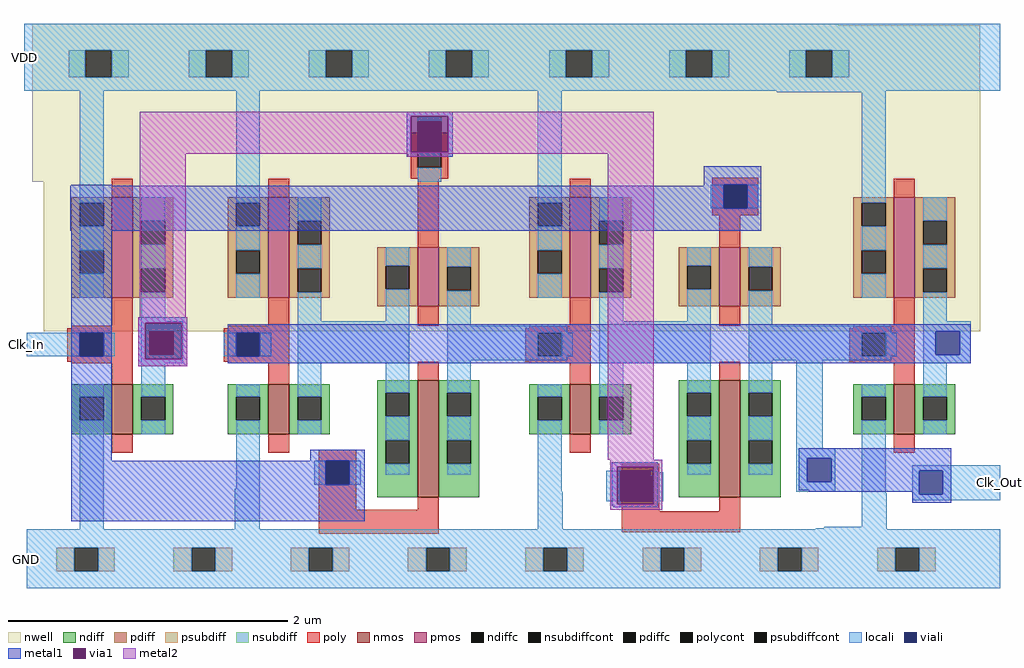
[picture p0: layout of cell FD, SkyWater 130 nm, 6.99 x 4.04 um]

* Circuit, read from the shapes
.subckt FD Clk_In GND Clk_Out VDD
XM1 n1 Clk_In VSUBS VSUBS sky130_fd_pr__nfet_01v8 w=0.36 l=0.15
XM2 n2 n3 VSUBS VSUBS sky130_fd_pr__nfet_01v8 w=0.36 l=0.15
XM3 n4 Clk_In n2 VSUBS sky130_fd_pr__nfet_01v8 w=0.84 l=0.15
XM4 n5 n4 VSUBS VSUBS sky130_fd_pr__nfet_01v8 w=0.36 l=0.15
XM5 Clk_Out n1 n5 VSUBS sky130_fd_pr__nfet_01v8 w=0.84 l=0.15
XM6 n3 Clk_Out VSUBS VSUBS sky130_fd_pr__nfet_01v8 w=0.36 l=0.15
XM7 n1 Clk_In VDD VDD sky130_fd_pr__pfet_01v8 w=0.72 l=0.15
XM8 n2 n3 VDD VDD sky130_fd_pr__pfet_01v8 w=0.72 l=0.15
XM9 n4 n1 n2 VDD sky130_fd_pr__pfet_01v8 w=0.42 l=0.15
XM10 n5 n4 VDD VDD sky130_fd_pr__pfet_01v8 w=0.72 l=0.15
XM11 Clk_Out Clk_In n5 VDD sky130_fd_pr__pfet_01v8 w=0.42 l=0.15
XM12 n3 Clk_Out VDD VDD sky130_fd_pr__pfet_01v8 w=0.72 l=0.15
.ends

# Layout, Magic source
magic
tech sky130A
<< nwell >>
rect -140 283 437 284
rect -140 171 539 283
rect -132 64 539 171
<< nmos >>
rect -83 -10 -68 26
rect 29 -10 44 26
rect 136 -55 151 29
rect 245 -10 260 26
rect 352 -55 367 29
rect 477 -10 492 26
<< pmos >>
rect -83 88 -68 160
rect 29 88 44 160
rect 136 82 151 124
rect 245 88 260 160
rect 352 82 367 124
rect 477 88 492 160
<< ndiff >>
rect -112 17 -83 26
rect -112 0 -106 17
rect -89 0 -83 17
rect -112 -10 -83 0
rect -68 17 -39 26
rect -68 0 -62 17
rect -45 0 -39 17
rect -68 -10 -39 0
rect 0 17 29 26
rect 0 0 6 17
rect 23 0 29 17
rect 0 -10 29 0
rect 44 17 73 26
rect 44 0 50 17
rect 67 0 73 17
rect 44 -10 73 0
rect 107 20 136 29
rect 107 3 113 20
rect 130 3 136 20
rect 107 -14 136 3
rect 107 -31 113 -14
rect 130 -31 136 -14
rect 107 -55 136 -31
rect 151 20 180 29
rect 151 3 157 20
rect 174 3 180 20
rect 151 -14 180 3
rect 216 17 245 26
rect 216 0 222 17
rect 239 0 245 17
rect 216 -10 245 0
rect 260 17 289 26
rect 260 0 266 17
rect 283 0 289 17
rect 260 -10 289 0
rect 323 20 352 29
rect 323 3 329 20
rect 346 3 352 20
rect 151 -31 157 -14
rect 174 -31 180 -14
rect 323 -14 352 3
rect 323 -31 329 -14
rect 346 -31 352 -14
rect 151 -55 180 -31
rect 323 -55 352 -31
rect 367 20 396 29
rect 367 3 373 20
rect 390 3 396 20
rect 367 -14 396 3
rect 448 17 477 26
rect 448 0 454 17
rect 471 0 477 17
rect 448 -10 477 0
rect 492 17 521 26
rect 492 0 498 17
rect 515 0 521 17
rect 492 -10 521 0
rect 367 -31 373 -14
rect 390 -31 396 -14
rect 367 -55 396 -31
<< pdiff >>
rect -112 156 -83 160
rect -112 139 -106 156
rect -89 139 -83 156
rect -112 122 -83 139
rect -112 105 -106 122
rect -89 105 -83 122
rect -112 88 -83 105
rect -68 143 -39 160
rect -68 126 -62 143
rect -45 126 -39 143
rect -68 109 -39 126
rect -68 92 -62 109
rect -45 92 -39 109
rect -68 88 -39 92
rect 0 156 29 160
rect 0 139 6 156
rect 23 139 29 156
rect 0 122 29 139
rect 0 105 6 122
rect 23 105 29 122
rect 0 88 29 105
rect 44 143 73 160
rect 44 126 50 143
rect 67 126 73 143
rect 44 109 73 126
rect 216 156 245 160
rect 216 139 222 156
rect 239 139 245 156
rect 44 92 50 109
rect 67 92 73 109
rect 44 88 73 92
rect 107 111 136 124
rect 107 94 113 111
rect 130 94 136 111
rect 107 82 136 94
rect 151 110 180 124
rect 151 93 157 110
rect 174 93 180 110
rect 151 82 180 93
rect 216 122 245 139
rect 216 105 222 122
rect 239 105 245 122
rect 216 88 245 105
rect 260 143 289 160
rect 448 156 477 160
rect 260 126 266 143
rect 283 126 289 143
rect 260 109 289 126
rect 448 139 454 156
rect 471 139 477 156
rect 260 92 266 109
rect 283 92 289 109
rect 260 88 289 92
rect 323 111 352 124
rect 323 94 329 111
rect 346 94 352 111
rect 323 82 352 94
rect 367 110 396 124
rect 367 93 373 110
rect 390 93 396 110
rect 367 82 396 93
rect 448 122 477 139
rect 448 105 454 122
rect 471 105 477 122
rect 448 88 477 105
rect 492 143 521 160
rect 492 126 498 143
rect 515 126 521 143
rect 492 109 521 126
rect 492 92 498 109
rect 515 92 521 109
rect 492 88 521 92
<< ndiffc >>
rect -106 0 -89 17
rect -62 0 -45 17
rect 6 0 23 17
rect 50 0 67 17
rect 113 3 130 20
rect 113 -31 130 -14
rect 157 3 174 20
rect 222 0 239 17
rect 266 0 283 17
rect 329 3 346 20
rect 157 -31 174 -14
rect 329 -31 346 -14
rect 373 3 390 20
rect 454 0 471 17
rect 498 0 515 17
rect 373 -31 390 -14
<< pdiffc >>
rect -106 139 -89 156
rect -106 105 -89 122
rect -62 126 -45 143
rect -62 92 -45 109
rect 6 139 23 156
rect 6 105 23 122
rect 50 126 67 143
rect 222 139 239 156
rect 50 92 67 109
rect 113 94 130 111
rect 157 93 174 110
rect 222 105 239 122
rect 266 126 283 143
rect 454 139 471 156
rect 266 92 283 109
rect 329 94 346 111
rect 373 93 390 110
rect 454 105 471 122
rect 498 126 515 143
rect 498 92 515 109
<< psubdiff >>
rect -123 -108 -110 -91
rect -93 -108 -81 -91
rect -39 -108 -26 -91
rect -9 -108 3 -91
rect 45 -108 58 -91
rect 75 -108 87 -91
rect 129 -108 142 -91
rect 159 -108 171 -91
rect 213 -108 226 -91
rect 243 -108 255 -91
rect 297 -108 310 -91
rect 327 -108 339 -91
rect 381 -108 394 -91
rect 411 -108 423 -91
rect 465 -108 478 -91
rect 495 -108 507 -91
<< nsubdiff >>
rect -114 246 -102 265
rect -83 246 -71 265
rect -28 246 -16 265
rect 3 246 15 265
rect 58 246 70 265
rect 89 246 101 265
rect 144 246 156 265
rect 175 246 187 265
rect 230 246 242 265
rect 261 246 273 265
rect 316 246 328 265
rect 347 246 359 265
rect 402 246 414 265
rect 433 246 445 265
<< psubdiffcont >>
rect -110 -108 -93 -91
rect -26 -108 -9 -91
rect 58 -108 75 -91
rect 142 -108 159 -91
rect 226 -108 243 -91
rect 310 -108 327 -91
rect 394 -108 411 -91
rect 478 -108 495 -91
<< nsubdiffcont >>
rect -102 246 -83 265
rect -16 246 3 265
rect 70 246 89 265
rect 156 246 175 265
rect 242 246 261 265
rect 328 246 347 265
rect 414 246 433 265
<< poly >>
rect 131 198 158 206
rect 131 181 136 198
rect 153 181 158 198
rect 131 173 158 181
rect -83 160 -68 173
rect 29 160 44 173
rect 136 124 151 173
rect 245 160 260 173
rect 347 169 380 174
rect -83 68 -68 88
rect 29 68 44 88
rect 347 152 355 169
rect 372 152 380 169
rect 477 160 492 173
rect 347 147 380 152
rect 352 124 367 147
rect 136 68 151 82
rect 245 68 260 88
rect 352 68 367 82
rect 477 68 492 88
rect -112 66 -68 68
rect 0 66 44 68
rect 216 66 260 68
rect 448 66 492 68
rect -115 63 -68 66
rect -115 46 -106 63
rect -89 46 -68 63
rect -115 42 -68 46
rect -3 63 44 66
rect -3 46 6 63
rect 23 46 44 63
rect -3 42 44 46
rect 213 63 260 66
rect 213 46 222 63
rect 239 46 260 63
rect 213 42 260 46
rect 445 63 492 66
rect 445 46 454 63
rect 471 46 492 63
rect 445 42 492 46
rect -112 41 -68 42
rect 0 41 44 42
rect -83 26 -68 41
rect 29 26 44 41
rect 136 29 151 42
rect 216 41 260 42
rect -83 -23 -68 -10
rect 29 -23 44 -10
rect 65 -29 92 -21
rect 65 -46 70 -29
rect 87 -46 92 -29
rect 65 -64 92 -46
rect 245 26 260 41
rect 352 29 367 42
rect 448 41 492 42
rect 245 -23 260 -10
rect 282 -40 309 -31
rect 136 -64 151 -55
rect 65 -81 151 -64
rect 282 -57 287 -40
rect 304 -57 309 -40
rect 477 26 492 41
rect 477 -23 492 -10
rect 282 -65 309 -57
rect 352 -65 367 -55
rect 282 -80 367 -65
<< polycont >>
rect 136 181 153 198
rect 355 152 372 169
rect -106 46 -89 63
rect 6 46 23 63
rect 222 46 239 63
rect 454 46 471 63
rect 70 -46 87 -29
rect 287 -57 304 -40
<< locali >>
rect -146 265 553 284
rect -146 246 -102 265
rect -83 246 -16 265
rect 3 246 70 265
rect 89 246 156 265
rect 175 246 242 265
rect 261 246 328 265
rect 347 246 414 265
rect 433 246 553 265
rect -146 236 553 246
rect -106 156 -89 236
rect -106 122 -89 139
rect -106 88 -89 105
rect -62 143 -45 160
rect -62 109 -45 126
rect -62 71 -45 92
rect 6 156 23 236
rect 136 214 153 218
rect 136 171 153 181
rect 6 122 23 139
rect 6 88 23 105
rect 50 143 67 160
rect 50 109 67 126
rect 222 156 239 236
rect 393 235 471 236
rect 50 71 67 92
rect 113 111 130 124
rect 113 71 130 94
rect -62 64 -32 71
rect -144 46 -106 63
rect -89 46 -81 63
rect -62 47 -56 64
rect -39 47 -32 64
rect -62 41 -32 47
rect -3 46 6 63
rect 23 46 31 63
rect 50 41 130 71
rect -106 17 -89 26
rect -106 -78 -89 0
rect -62 17 -45 41
rect -62 -10 -45 0
rect 6 17 23 26
rect 6 -49 23 0
rect 50 17 67 41
rect 50 -10 67 0
rect 113 20 130 41
rect 113 -14 130 3
rect 62 -46 70 -29
rect 87 -46 95 -29
rect 113 -39 130 -31
rect 157 110 174 124
rect 157 68 174 93
rect 222 122 239 139
rect 222 88 239 105
rect 266 143 283 160
rect 346 152 355 169
rect 372 152 380 169
rect 454 156 471 235
rect 266 109 283 126
rect 266 71 283 92
rect 329 111 346 124
rect 329 71 346 94
rect 157 63 243 68
rect 157 46 222 63
rect 239 46 247 63
rect 157 43 243 46
rect 157 20 174 43
rect 266 41 346 71
rect 157 -14 174 3
rect 157 -39 174 -31
rect 222 17 239 26
rect 5 -78 23 -49
rect 222 -51 239 0
rect 266 17 283 41
rect 266 -10 283 0
rect 329 20 346 41
rect 329 -14 346 3
rect 222 -78 240 -51
rect 271 -57 281 -36
rect 302 -37 307 -36
rect 302 -40 312 -37
rect 329 -39 346 -31
rect 373 110 390 124
rect 373 68 390 93
rect 454 122 471 139
rect 454 88 471 105
rect 498 143 515 160
rect 498 109 515 126
rect 498 71 515 92
rect 373 63 475 68
rect 498 64 532 71
rect 373 46 454 63
rect 471 46 479 63
rect 498 47 507 64
rect 524 47 532 64
rect 373 43 475 46
rect 373 20 390 43
rect 373 -14 390 3
rect 373 -39 390 -31
rect 407 -20 426 43
rect 498 41 532 47
rect 454 17 471 26
rect 407 -27 435 -20
rect 304 -57 312 -40
rect 407 -44 415 -27
rect 432 -44 435 -27
rect 407 -51 435 -44
rect 271 -58 312 -57
rect 454 -52 471 0
rect 498 17 515 41
rect 498 -10 515 0
rect 490 -36 553 -32
rect 454 -76 472 -52
rect 490 -53 495 -36
rect 512 -53 553 -36
rect 490 -57 553 -53
rect 427 -77 472 -76
rect 421 -78 472 -77
rect -144 -91 553 -78
rect -144 -108 -110 -91
rect -93 -108 -26 -91
rect -9 -108 58 -91
rect 75 -108 142 -91
rect 159 -108 226 -91
rect 243 -108 310 -91
rect 327 -108 394 -91
rect 411 -108 478 -91
rect 495 -108 553 -91
rect -144 -120 553 -108
<< viali >>
rect 136 198 153 214
rect 136 197 153 198
rect -106 46 -89 63
rect -56 47 -39 64
rect 6 46 23 63
rect 70 -46 87 -29
rect 355 152 372 169
rect 281 -40 302 -36
rect 507 47 524 64
rect 281 -57 287 -40
rect 287 -57 302 -40
rect 415 -44 432 -27
rect 495 -53 512 -36
<< metal1 >>
rect 128 218 161 221
rect 128 192 131 218
rect 158 192 161 218
rect 128 189 161 192
rect 341 169 382 182
rect -112 168 -83 169
rect 341 168 355 169
rect -113 152 355 168
rect 372 152 382 169
rect -113 136 382 152
rect -112 63 -83 136
rect -112 46 -106 63
rect -89 46 -83 63
rect -112 -29 -83 46
rect -64 70 -29 74
rect -64 44 -59 70
rect -33 44 -29 70
rect -64 39 -29 44
rect 0 64 532 69
rect 0 63 507 64
rect 0 46 6 63
rect 23 47 507 63
rect 524 47 532 64
rect 23 46 532 47
rect 0 41 532 46
rect 59 -29 98 -21
rect -112 -46 70 -29
rect 87 -46 98 -29
rect 409 -27 518 -20
rect -112 -72 98 -46
rect 275 -33 308 -30
rect 275 -60 279 -33
rect 305 -60 308 -33
rect 409 -44 415 -27
rect 432 -36 518 -27
rect 432 -44 495 -36
rect 409 -50 495 -44
rect 416 -51 495 -50
rect 490 -53 495 -51
rect 512 -53 518 -36
rect 490 -59 518 -53
rect 275 -61 308 -60
rect 276 -62 308 -61
<< via1 >>
rect 131 214 158 218
rect 131 197 136 214
rect 136 197 153 214
rect 153 197 158 214
rect 131 192 158 197
rect -59 64 -33 70
rect -59 47 -56 64
rect -56 47 -39 64
rect -39 47 -33 64
rect -59 44 -33 47
rect 279 -36 305 -33
rect 279 -57 281 -36
rect 281 -57 302 -36
rect 302 -57 305 -36
rect 279 -60 305 -57
<< metal2 >>
rect -63 218 305 221
rect -63 192 131 218
rect 158 192 305 218
rect -63 191 305 192
rect -63 74 -30 191
rect 129 189 158 191
rect -64 70 -29 74
rect -64 44 -59 70
rect -33 44 -29 70
rect -64 39 -29 44
rect 272 -28 305 191
rect 274 -33 311 -28
rect 274 -60 279 -33
rect 305 -60 311 -33
rect 274 -64 311 -60
<< labels >>
rlabel locali -144 46 -144 63 3 Clk_In
port 2 e
rlabel space -144 -121 -144 -78 3 GND
port 3 e
rlabel locali 553 -57 553 -32 7 Clk_Out
port 4 w
rlabel locali -146 236 -146 284 3 VDD
port 5 e
<< end >>
